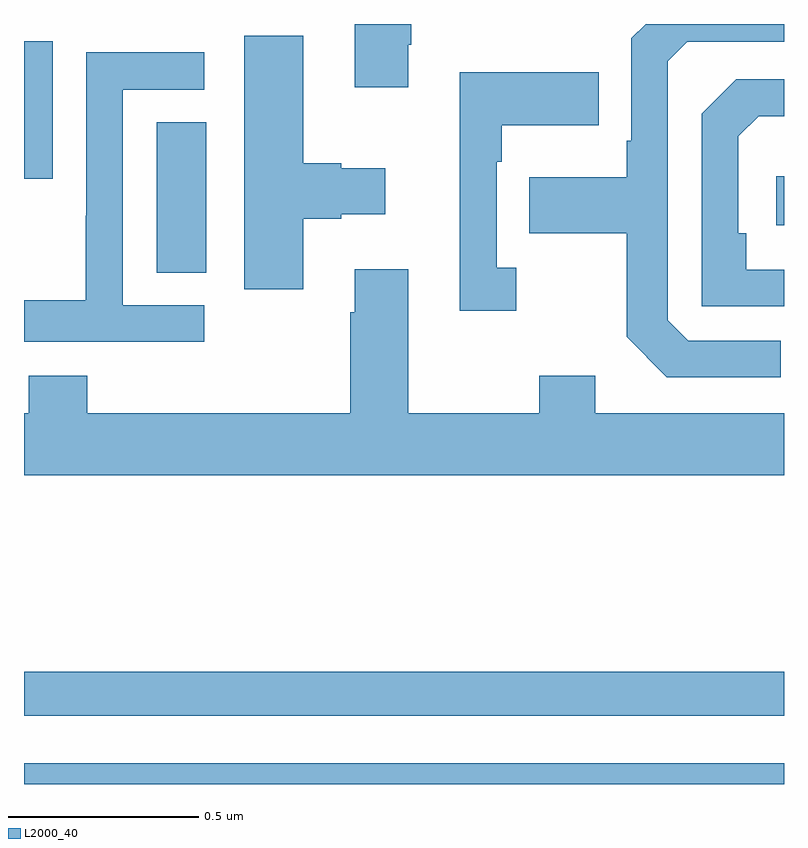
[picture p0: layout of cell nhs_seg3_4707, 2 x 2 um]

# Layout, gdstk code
import gdstk
lib = gdstk.Library(unit=1e-6, precision=1e-09)
def R(c, l, rs):  # rectangles x0, y0, x1, y1
    for r in rs: c.add(gdstk.rectangle(r[:2], r[2:], *l))
def P(c, l, *ps):  # polygons
    for p in ps: c.add(gdstk.Polygon(p, *l))
L2000_40 = (2000, 40)

nhs_seg3_4707 = lib.new_cell('nhs_seg3_4707')
R(nhs_seg3_4707, L2000_40, [(169,737.4,171,737.454), (169,737.58,171,737.696), (169.349,738.745,169.48,739.142), (170.979,738.87,171,739), (169,738.993,169.075,739.354)])
P(nhs_seg3_4707, L2000_40, [(170.011,739.345),(170.019,739.345),(170.019,739.4),(169.871,739.4),(169.871,739.233),(170.011,739.233)],
  [(170.992,738.567),(170.748,738.567),(170.694,738.621),(170.694,739.302),(170.745,739.353),(171,739.353),(171,739.4),(170.636,739.4),(170.598,739.362),(170.598,739.093),(170.586,739.093),(170.586,738.997),(170.329,738.997),(170.329,738.85),(170.586,738.85),(170.586,738.577),(170.691,738.471),(170.992,738.471)],
  [(169.735,738.887),(169.835,738.887),(169.835,738.899),(169.951,738.899),(169.951,739.021),(169.835,739.021),(169.835,739.034),(169.735,739.034),(169.735,739.369),(169.58,739.369),(169.58,738.702),(169.735,738.702)],
  [(169.474,738.66),(169.26,738.66),(169.26,739.227),(169.474,739.227),(169.474,739.326),(169.164,739.326),(169.164,738.896),(169.162,738.896),(169.162,738.673),(169,738.673),(169,738.564),(169.474,738.564)],
  [(170.296,738.758),(170.244,738.758),(170.244,739.037),(170.257,739.037),(170.257,739.133),(170.513,739.133),(170.513,739.273),(170.147,739.273),(170.147,738.645),(170.296,738.645)],
  [(171,738.753),(170.9,738.753),(170.9,738.85),(170.88,738.85),(170.88,739.104),(170.933,739.157),(171,739.157),(171,739.254),(170.874,739.254),(170.784,739.164),(170.784,738.657),(171,738.657)],
  [(171,738.376),(170.503,738.376),(170.503,738.475),(170.356,738.475),(170.356,738.376),(170.011,738.376),(170.011,738.754),(169.871,738.754),(169.871,738.641),(169.859,738.641),(169.859,738.376),(169.166,738.376),(169.166,738.475),(169.013,738.475),(169.013,738.376),(169,738.376),(169,738.212),(171,738.212)])

lib.write_gds('nhs_seg3_4707.gds')
